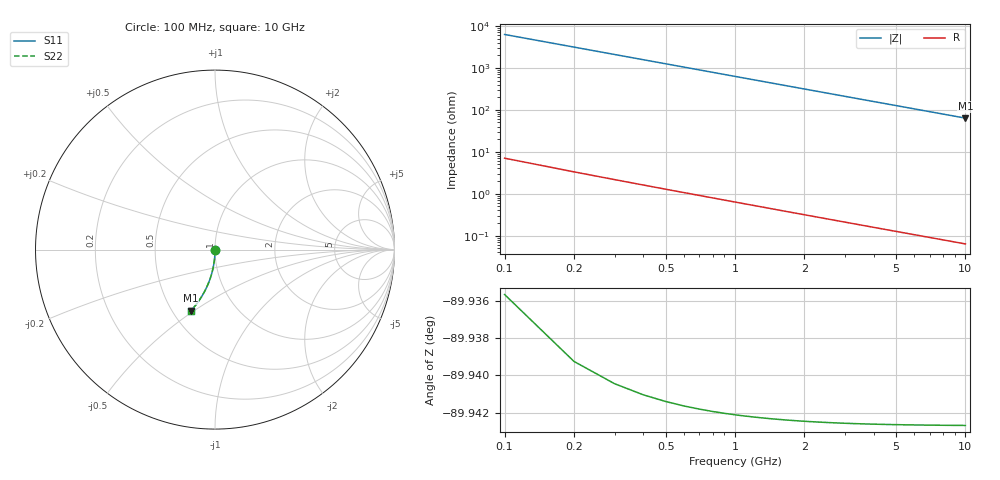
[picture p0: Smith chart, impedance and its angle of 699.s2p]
# Hz S RI R 50.00
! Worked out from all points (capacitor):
!   100 points, 100 MHz to 10 GHz, reference 50 ohm
!   read as one part in shunt: C = 254 fF near 100 MHz
!   lowest |Z| = 63.5 ohm at 10 GHz (marker M1)
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1e8  -1.99e-05 -0.00399  1 -0.00399  1 -0.00399  -1.99e-05 -0.00399
2e8  -7.16e-05 -0.00797  0.9999 -0.00798  0.9999 -0.00798  -7.16e-05 -0.00797
3e8  -0.000155 -0.012  0.9998 -0.012  0.9998 -0.012  -0.000155 -0.012
4e8  -0.00027 -0.0159  0.9997 -0.016  0.9997 -0.016  -0.00027 -0.0159
5e8  -0.000417 -0.0199  0.9996 -0.0199  0.9996 -0.0199  -0.000417 -0.0199
6e8  -0.000596 -0.0239  0.9994 -0.0239  0.9994 -0.0239  -0.000596 -0.0239
7e8  -0.000806 -0.0279  0.9992 -0.0279  0.9992 -0.0279  -0.000806 -0.0279
8e8  -0.00105 -0.0318  0.999 -0.0319  0.999 -0.0319  -0.00105 -0.0318
9e8  -0.00132 -0.0358  0.9987 -0.0358  0.9987 -0.0358  -0.00132 -0.0358
1.1e9  -0.00196 -0.0437  0.998 -0.0438  0.998 -0.0438  -0.00196 -0.0437
1.4e9  -0.00315 -0.0556  0.9968 -0.0556  0.9968 -0.0556  -0.00315 -0.0556
1.8e9  -0.00517 -0.0712  0.9948 -0.0713  0.9948 -0.0713  -0.00517 -0.0712
2.1e9  -0.00701 -0.0829  0.993 -0.083  0.993 -0.083  -0.00701 -0.0829
2.5e9  -0.00987 -0.0983  0.9901 -0.0984  0.9901 -0.0984  -0.00987 -0.0983
2.9e9  -0.0132 -0.1136  0.9868 -0.1137  0.9868 -0.1137  -0.0132 -0.1136
3.4e9  -0.018 -0.1324  0.982 -0.1325  0.982 -0.1325  -0.018 -0.1324
4.2e9  -0.0271 -0.1618  0.9729 -0.1619  0.9729 -0.1619  -0.0271 -0.1618
5.1e9  -0.0393 -0.1937  0.9607 -0.1939  0.9607 -0.1939  -0.0393 -0.1937
5.9e9  -0.0518 -0.221  0.9482 -0.2212  0.9482 -0.2212  -0.0518 -0.221
6.7e9  -0.0656 -0.247  0.9344 -0.2472  0.9344 -0.2472  -0.0656 -0.247
8.4e9  -0.099 -0.2981  0.901 -0.2984  0.901 -0.2984  -0.099 -0.2981
1e10  -0.1344 -0.3405  0.8655 -0.3408  0.8655 -0.3408  -0.1344 -0.3405
